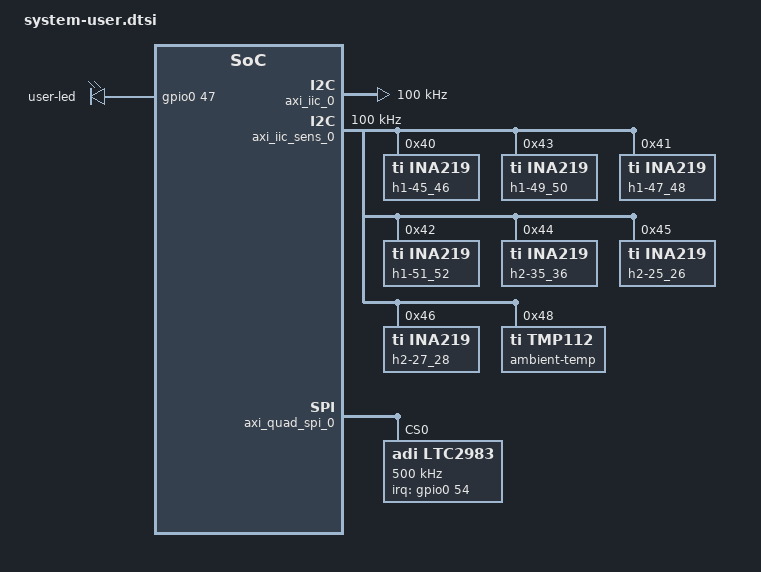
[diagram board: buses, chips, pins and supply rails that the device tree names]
/include/ "system-conf.dtsi"
/include/ "avnet-bsp.dtsi"

/ {
    gpio-leds {
        compatible = "gpio-leds";
        user-led {
            label = "user-led";
            gpios = <&gpio0 47 0>;
            default-state = "on";
            linux,default-trigger = "heartbeat";
        };
    };
};

&axi_iic_0 {
    status = "okay";
	clock-frequency = <100000>;
};

&axi_iic_sens_0 {
    status = "okay";
	clock-frequency = <100000>;
    #address-cells = <1>;
    #size-cells = <0>;

    ina219@40 {
        compatible = "ti,ina219";
        reg = <0x40>;
        shunt-resistor = <47000>;
        label = "h1-45_46";
    };

    ina219@43 {
        compatible = "ti,ina219";
        reg = <0x43>;
        shunt-resistor = <47000>;
        label = "h1-49_50";
    };

    ina219@41 {
        compatible = "ti,ina219";
        reg = <0x41>;
        shunt-resistor = <47000>;
        label = "h1-47_48";
    };

    ina219@42 {
        compatible = "ti,ina219";
        reg = <0x42>;
        shunt-resistor = <47000>;
        label = "h1-51_52";
    };

    ina219@44 {
        compatible = "ti,ina219";
        reg = <0x44>;
        shunt-resistor = <47000>;
        label = "h2-35_36";
    };

    ina219@45 {
        compatible = "ti,ina219";
        reg = <0x45>;
        shunt-resistor = <47000>;
        label = "h2-25_26";
    };

    ina219@46 {
        compatible = "ti,ina219";
        reg = <0x46>;
        shunt-resistor = <47000>;
        label = "h2-27_28";
    };

    tmp112@48 {
        compatible = "ti,tmp112";
        reg = <0x48>;
        #thermal-sensor-cells = <1>;
        label = "ambient-temp";
    };
};

&axi_quad_spi_0 {
     ltc2983: ltc2983@0 {
        compatible = "adi,ltc2983";
        reg = <0>;
        interrupt-parent = <&gpio0>;
        interrupts = <54 1>;

        spi-max-frequency = <500000>;

        #address-cells = <1>;
        #size-cells = <0>;

        thermocouple@1 {
            reg = <1>;
            adi,sensor-type = <2>;
            adi,single-ended;
        };

        thermocouple@3 {
            reg = <3>;
            adi,sensor-type = <2>;
            adi,single-ended;
        };

        thermocouple@5 {
            reg = <5>;
            adi,sensor-type = <2>;
            adi,single-ended;
        };

        thermocouple@7 {
            reg = <7>;
            adi,sensor-type = <2>;
            adi,single-ended;
        };

        thermocouple@9 {
            reg = <9>;
            adi,sensor-type = <2>;
            adi,single-ended;
        };
        
        thermocouple@11 {
            reg = <11>;
            adi,sensor-type = <2>;
            adi,single-ended;
        };

        thermocouple@13 {
            reg = <13>;
            adi,sensor-type = <2>;
            adi,single-ended;
        };

        thermocouple@15 {
            reg = <15>;
            adi,sensor-type = <2>;
            adi,single-ended;
        };

        thermocouple@19 {
            reg = <19>;
            adi,sensor-type = <2>;
            adi,single-ended;
        };
    };
};
